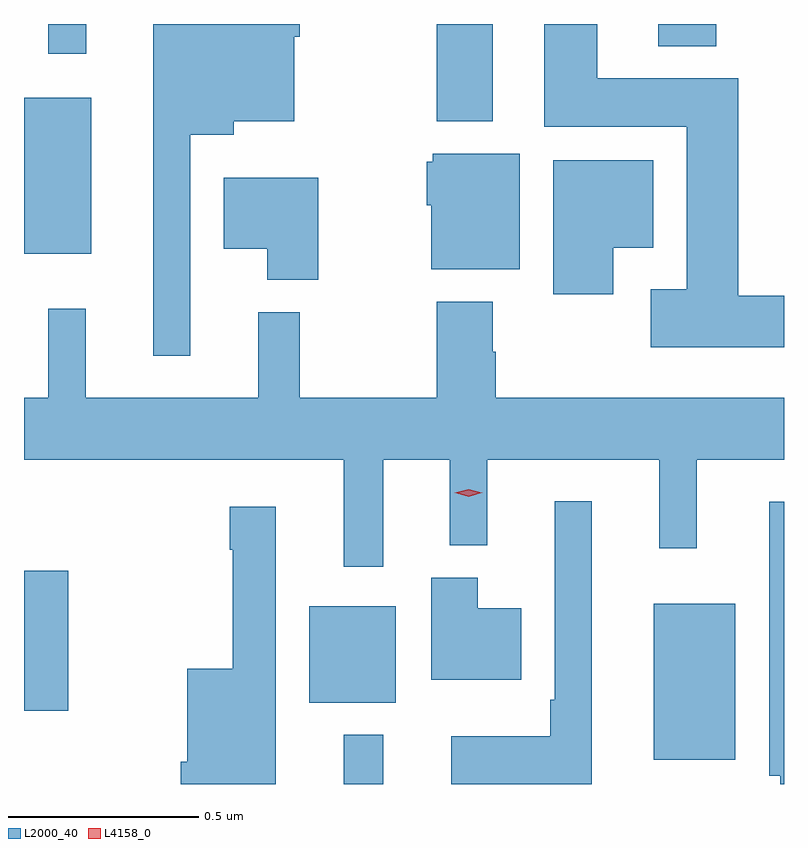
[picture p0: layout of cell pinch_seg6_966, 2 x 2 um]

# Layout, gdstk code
import gdstk
lib = gdstk.Library(unit=1e-6, precision=1e-09)
def R(c, l, rs):  # rectangles x0, y0, x1, y1
    for r in rs: c.add(gdstk.rectangle(r[:2], r[2:], *l))
def P(c, l, *ps):  # polygons
    for p in ps: c.add(gdstk.Polygon(p, *l))
L2000_40 = (2000, 40)
L4158_0 = (4158, 0)

pinch_seg6_966 = lib.new_cell('pinch_seg6_966')
R(pinch_seg6_966, L2000_40, [(311.867,922.507,311.971,922.636), (312.683,922.571,312.898,922.981), (311.026,922.7,311.142,923.068), (311.777,922.721,312.004,922.975), (311.026,923.903,311.203,924.313), (312.112,924.251,312.259,924.507), (311.09,924.429,311.19,924.507), (312.695,924.449,312.848,924.507)])
P(pinch_seg6_966, L2000_40, [(311.463,924.215),(311.578,924.215),(311.578,924.251),(311.737,924.251),(311.737,924.473),(311.751,924.473),(311.751,924.507),(311.366,924.507),(311.366,923.634),(311.463,923.634)],
  [(313.026,923.792),(312.905,923.792),(312.905,924.364),(312.535,924.364),(312.535,924.507),(312.395,924.507),(312.395,924.236),(312.77,924.236),(312.77,923.809),(312.675,923.809),(312.675,923.657),(313.026,923.657)],
  [(312.331,924.166),(312.102,924.166),(312.102,924.144),(312.086,924.144),(312.086,924.03),(312.098,924.03),(312.098,923.861),(312.331,923.861)],
  [(312.577,923.918),(312.682,923.918),(312.682,924.148),(312.419,924.148),(312.419,923.796),(312.577,923.796)],
  [(311.8,924.103),(311.552,924.103),(311.552,923.915),(311.666,923.915),(311.666,923.834),(311.8,923.834)],
  [(311.971,923.36),(312.146,923.36),(312.146,923.135),(312.245,923.135),(312.245,923.36),(312.698,923.36),(312.698,923.127),(312.797,923.127),(312.797,923.36),(313.026,923.36),(313.026,923.524),(312.267,923.524),(312.267,923.645),(312.259,923.645),(312.259,923.776),(312.112,923.776),(312.112,923.524),(311.752,923.524),(311.752,923.749),(311.642,923.749),(311.642,923.524),(311.189,923.524),(311.189,923.758),(311.09,923.758),(311.09,923.524),(311.026,923.524),(311.026,923.36),(311.867,923.36),(311.867,923.079),(311.971,923.079)],
  [(312.52,923.251),(312.423,923.251),(312.423,922.729),(312.411,922.729),(312.411,922.633),(312.15,922.633),(312.15,922.507),(312.52,922.507)],
  [(313.026,923.25),(312.987,923.25),(312.987,922.529),(313.016,922.529),(313.016,922.507),(313.026,922.507)],
  [(311.689,923.236),(311.568,923.236),(311.568,923.123),(311.575,923.123),(311.575,922.81),(311.456,922.81),(311.456,922.566),(311.438,922.566),(311.438,922.507),(311.689,922.507)],
  [(312.334,922.969),(312.22,922.969),(312.22,923.05),(312.098,923.05),(312.098,922.781),(312.334,922.781)])
P(pinch_seg6_966, L4158_0, [(312.196,923.263),(312.16,923.273),(312.16,923.273),(312.16,923.273),(312.196,923.283),(312.231,923.273),(312.232,923.273),(312.231,923.273)])

lib.write_gds('pinch_seg6_966.gds')
